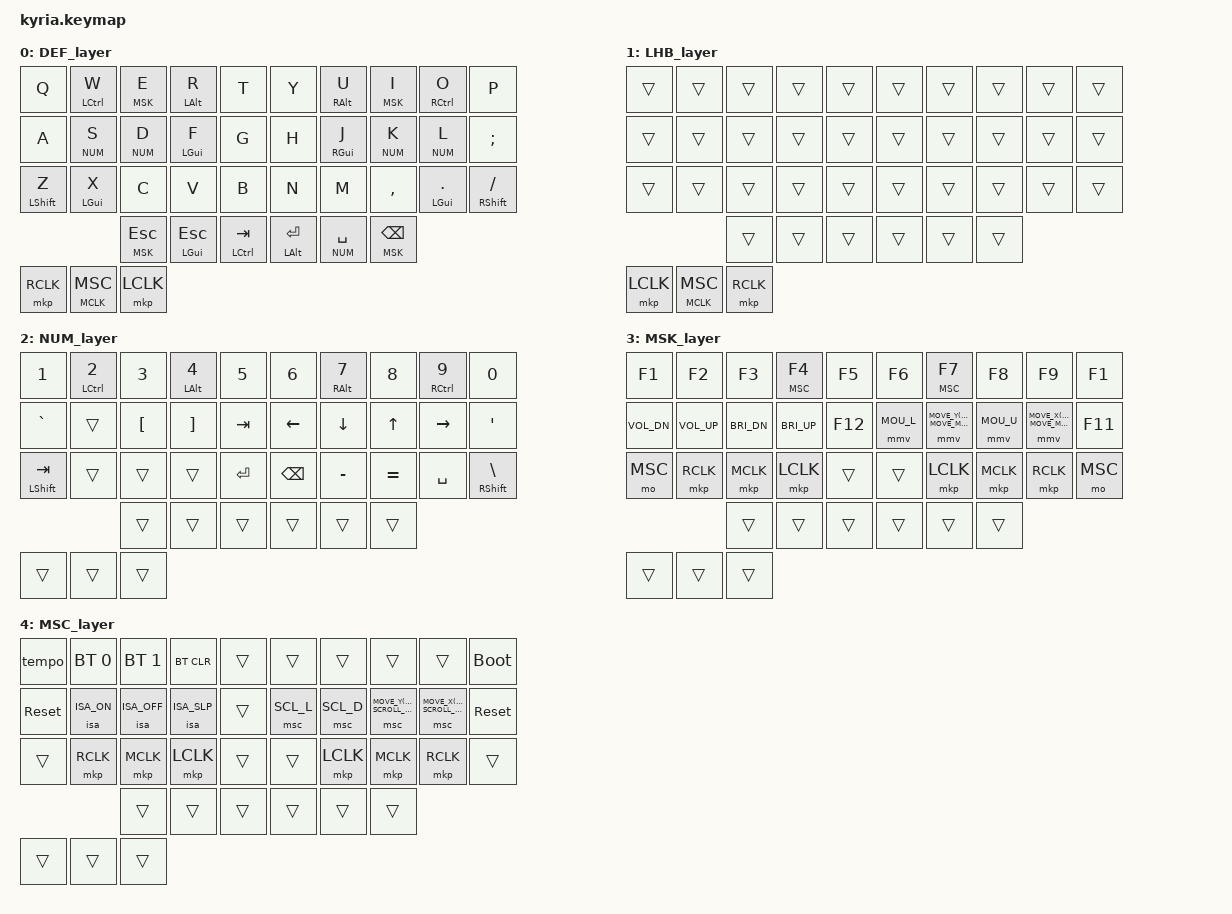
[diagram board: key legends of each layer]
/*
 * Copyright (c) 2020 The ZMK Contributors
 *
 * SPDX-License-Identifier: MIT
 */

#include <behaviors.dtsi>
#include <behaviors/mouse_keys.dtsi>
#include <behaviors/mouse_key_press.dtsi>
#include <behaviors/mouse_key_toggle.dtsi>
#include <dt-bindings/zmk/keys.h>
#include <dt-bindings/zmk/bt.h>
#include <dt-bindings/zmk/rgb.h>
#include <dt-bindings/zmk/ext_power.h>
#include <dt-bindings/zmk/outputs.h>
#include <dt-bindings/zmk/mouse.h>

#include <behaviors/insomnia.dtsi>
#include <dt-bindings/zmk/insomnia.h>

#define DEF 0
#define LHB 1
#define NUM 2
#define MSK 3
#define MSC 4

#ifndef MOVE_Y
#define MOVE_Y(n) (0)
#endif
#ifndef MOVE_X
#define MOVE_X(n) (0)
#endif

#define U_MOUSE_MOVE_MAX 1700
#define MOU_U MOVE_Y(-U_MOUSE_MOVE_MAX)
#define MOU_D MOVE_Y(U_MOUSE_MOVE_MAX)
#define MOU_L MOVE_X(-U_MOUSE_MOVE_MAX)
#define MOU_R MOVE_X(U_MOUSE_MOVE_MAX)

#define U_MOUSE_SCROLL_MAX 20
#define SCL_U MOVE_Y(U_MOUSE_SCROLL_MAX)
#define SCL_D MOVE_Y(-U_MOUSE_SCROLL_MAX)
#define SCL_L MOVE_X(-U_MOUSE_SCROLL_MAX)
#define SCL_R MOVE_X(U_MOUSE_SCROLL_MAX)

/ {
        // behaviors {
        //         mmv: mmv_dummy {
        //                 compatible = "zmk,behavior-momentary-layer";
        //                 #binding-cells = <1>;
        //         };
        //         msc: msc_dummy {
        //                 compatible = "zmk,behavior-momentary-layer";
        //                 #binding-cells = <1>;
        //         };
        // };

        // tb0_mmv_ibl {
        //         compatible = "zmk,input-behavior-listener";
        //         device = <&pd0>;
        //         layers = <DEF NUM MSK LHB>;
	//         evt-type = <INPUT_EV_REL>;
	//         x-input-code = <INPUT_REL_X>;
	//         y-input-code = <INPUT_REL_Y>;
        //         // bindings = <&ib_tog_layer MSK>;
        // };
        // tb0_msl_ibl {
        //         compatible = "zmk,input-behavior-listener";
        //         device = <&pd0>;
        //         layers = <MSC>;
        //         evt-type = <INPUT_EV_REL>;
        //         x-input-code = <INPUT_REL_MISC>;
        //         y-input-code = <INPUT_REL_WHEEL>;
        //         y-invert;
        //         bindings = <&ib_wheel_scaler 1 25>;
        // };

        // tb1_mmv_ibl {
        //         compatible = "zmk,input-behavior-listener";
        //         device = <&pd1>;
        //         layers = <DEF NUM MSK LHB>;
	//         evt-type = <INPUT_EV_REL>;
	//         x-input-code = <INPUT_REL_X>;
	//         y-input-code = <INPUT_REL_Y>;
        //         // bindings = <&ib_tog_layer MSK>;
        // };
        // tb1_msl_ibl {
        //         compatible = "zmk,input-behavior-listener";
        //         device = <&pd1>;
        //         layers = <MSC>;
        //         evt-type = <INPUT_EV_REL>;
        //         x-input-code = <INPUT_REL_MISC>;
        //         y-input-code = <INPUT_REL_WHEEL>;
        //         y-invert;
        //         bindings = <&ib_wheel_scaler 1 25>;
        // };


        tball1_mmv_ibl {
                compatible = "zmk,input-behavior-listener";
                device = <&tball1>;
                layers = <DEF NUM MSK LHB>;
		evt-type = <INPUT_EV_REL>;
		x-input-code = <INPUT_REL_X>;
		y-input-code = <INPUT_REL_Y>;
                // bindings = <&ib_tog_layer MSK>;
                // bindings = <&ib_fwd_to_hid_io>;
        };
        tball1_msl_ibl {
                compatible = "zmk,input-behavior-listener";
                device = <&tball1>;
                layers = <MSC>;
                evt-type = <INPUT_EV_REL>;
                x-input-code = <INPUT_REL_MISC>;
                y-input-code = <INPUT_REL_WHEEL>;
                y-invert;
                bindings = <&ib_wheel_scaler 1 25>;
        };


        
        // ib_tog_layer: ib_tog_layer {
        //         compatible = "zmk,input-behavior-tog-layer";
        //         #binding-cells = <1>;
        //         time-to-live-ms = <1000>;
        // };

        // ib_fwd_to_hid_io: ib_forward_fwd_to_hid_io {
        //         compatible = "zmk,input-behavior-fwd-to-hid-io";
        //         #binding-cells = <0>;
        // };

        //   0   1   2   3   4     5   6   7   8   9
        //  10  11  12  13  14    15  16  17  18  19
        //  20  21  22  23  24    25  26  27  28  29
        //          30  31  32    33  34  35
        //  36 37 38


        behaviors {
                hm_l: homerow_mods_left {
                        compatible = "zmk,behavior-hold-tap"; #binding-cells = <2>;
                        tapping-term-ms = <200>; quick-tap-ms = <200>;
                        flavor = "tap-preferred"; bindings = <&kp>, <&kp>;
                };
                hm_r: homerow_mods_right {
                        compatible = "zmk,behavior-hold-tap"; #binding-cells = <2>;
                        tapping-term-ms = <200>; quick-tap-ms = <200>;
                        flavor = "tap-preferred"; bindings = <&kp>, <&kp>;
                };
                hl_l: homerow_layers_left {
                        compatible = "zmk,behavior-hold-tap"; #binding-cells = <2>;
                        tapping-term-ms = <200>; quick-tap-ms = <200>;
                        flavor = "tap-preferred"; bindings = <&mo>, <&kp>;
                };
                hl_r: homerow_layers_right {
                        compatible = "zmk,behavior-hold-tap"; #binding-cells = <2>;
                        tapping-term-ms = <200>; quick-tap-ms = <200>;
                        flavor = "tap-preferred"; bindings = <&mo>, <&kp>;
                };
                hmkp_tg: hold_mouse_key_press_tap_toggle {
                        compatible = "zmk,behavior-hold-tap"; #binding-cells = <2>;
                        tapping-term-ms = <200>; quick-tap-ms = <200>;
                        flavor = "tap-preferred"; bindings = <&mkp>, <&tog>;
                };
                // rot_enc: sensor_rotate {
                //         compatible = "zmk,behavior-sensor-rotate";
                //         #sensor-binding-cells = <0>;
                //         bindings = <&msc SCL_D>, <&msc SCL_U>;
                //         tap-ms = <120>;
                // };
        };

        tempo: key_tempo {
                compatible = "zmk,behavior-key-tempo";
                #binding-cells = <0>;
                usage-pages = <HID_USAGE_KEY HID_USAGE_CONSUMER>;
        };

        keymap {
                compatible = "zmk,keymap";
                DEF_layer {
// +------------------------------------------------------+     +--------------------------------------------------------+
// |     Q    |  LCTRL:W |  _MSK:E  |  LALT:R  |     T    |     |     Y     |  RALT:U  |  _MSK:I   |  RCTRL:O |     P    |
// |     A    |  _NUM:S  |  _NUM:D  |  LGUI:F  |     G    |     |     H     |  RGUI:J  |  _NUM:K   |  _NUM:L  |     ;:   |
// |  SHFT Z  |  LGUI:X  |     C    |     V    |     B    |     |     N     |     M    |    ,<     |  LGUI:.> |  SHFT /? |
//                       | ^MSK:ESC |  GUI:ESC | CTRL:TAB |     |  ALT:ENT  | _NUM:SPC | ^MSK:BKSP |
                        bindings = <
   &kp Q          &hm_l LCTRL W   &hl_l MSK E    &hm_l LALT R    &kp T               &kp Y           &hm_r RALT U     &hl_r MSK I     &hm_r RCTRL O   &kp P
   &kp A          &hl_l NUM S     &hl_l NUM D    &hm_l LGUI F    &kp G               &kp H           &hm_r RGUI J     &hl_r NUM K     &hl_r NUM L     &kp SEMI
   &mt LSHFT Z    &hm_l LGUI X    &kp C          &kp V           &kp B               &kp N           &kp M            &kp COMMA       &hm_r LGUI DOT  &mt RSHFT FSLH
                                  &lt MSK ESC    &mt LGUI ESC    &mt LCTRL TAB       &mt LALT RET    &lt NUM SPACE    &lt MSK BKSP
   &mkp RCLK   &hmkp_tg MCLK MSC   &mkp LCLK
                        >;
                        // sensor-bindings = <&rot_enc>;
                };
                LHB_layer {
                        bindings = <
   &trans  &trans  &trans  &trans  &trans    &trans  &trans  &trans  &trans  &trans
   &trans  &trans  &trans  &trans  &trans    &trans  &trans  &trans  &trans  &trans
   &trans  &trans  &trans  &trans  &trans    &trans  &trans  &trans  &trans  &trans
                   &trans  &trans  &trans    &trans  &trans  &trans
   &mkp LCLK   &hmkp_tg MCLK MSC   &mkp RCLK
                        >;
                        // sensor-bindings = <&rot_enc>;
                };
                NUM_layer {
// +------------------------------------------------------+     +-------------------------------------------------------+
// |    1!    | LCTRL:2@  |    3#    | LALT:4$  |    5%   |     |    6^    |  RALT:7& |    8&    |  RCTRL 9( |    0)    |
// |    `~    |           |    {[    |    ]}    |   TAB   |     |    LFT   |   DWN    |    UP    |    RGT    |    '"    |
// | SHFT TAB |           |          |          |   RET   |     |   BKSP   |    -_    |    =+    |    SPC    |  SHFT \| |
//                        |          |          |         |     |          |    (H)   |          |
                        bindings = <
   &kp N1             &hm_l LCTRL N2   &kp N3     &hm_l LALT N4   &kp N5              &kp N6      &hm_r RALT N7   &kp N8      &hm_r RCTRL N9   &kp N0
   &kp GRAVE          &trans           &kp LBKT   &kp RBKT        &kp TAB             &kp LEFT    &kp DOWN        &kp UP      &kp RIGHT        &kp SQT
   &mt LSHFT TAB      &trans           &trans     &trans          &kp RET             &kp BKSP    &kp MINUS       &kp EQUAL   &kp SPACE        &mt RSHFT BSLH
                                       &trans     &trans          &trans              &trans      &trans          &trans
   &trans   &trans   &trans
                        >;
                };
                MSK_layer {
// +------------------------------------------------------+     +------------------------------------------------------+
// |    F1    |    F2    |  (H) F3  |  _MSC:F4 |    F5    |     |    F6    |  _MSC:F7 |  (H) F8  |    F9    |   F10    |
// |   VOLD   |   VOLU   |   BRID   |   BRIU   |   F12    |     |   MLFT   |   MDWN   |    MUP   |   MRGT   |   F11    |
// |   _MSC   |   RCLK   |   MCLK   |   LCLK   |          |     |          |   LCLK   |   MCLK   |   RCLK   |  _MSC    |
//                       |   (H)    |          |          |     |          |          |    (H)   |
                        bindings = <
   &kp F1        &kp F2        &kp F3        &lt MSC F4    &kp F5            &kp F6      &lt MSC F7  &kp F8      &kp F9      &kp F1
   &kp C_VOL_DN  &kp C_VOL_UP  &kp C_BRI_DN  &kp C_BRI_UP  &kp F12           &mmv MOU_L  &mmv MOU_D  &mmv MOU_U  &mmv MOU_R  &kp F11
   &mo MSC       &mkp RCLK     &mkp MCLK     &mkp LCLK     &trans            &trans      &mkp LCLK   &mkp MCLK   &mkp RCLK   &mo MSC
                               &trans        &trans        &trans            &trans      &trans      &trans
   &trans   &trans   &trans
                        >;
                };
                MSC_layer {
// +------------------------------------------------------+     +------------------------------------------------------+
// |   TEMPO  |   BT_0   | (H) BT_1 | (H) BT_C |          |     |          |    (H)   |    (H)   |          |    DFU   |
// |   RESET  |  ISA_ON  |  ISA_OFF |  ISA_SLP |          |     |   SLFT   |   SDWN   |    SUP   |   SRGT   |   RESET  |
// |    (H)   |   RCLK   |   MCLK   |   LCLK   |          |     |          |   LCLK   |   MCLK   |   RCLK   |    (H)   |
//                       |   (H)    |          |          |     |          |          |    (H)   |
                        bindings = <
   &tempo      &bt BT_SEL 0  &bt BT_SEL 1  &bt BT_CLR    &trans            &trans       &trans        &trans      &trans        &bootloader
   &sys_reset  &isa ISA_ON   &isa ISA_OFF  &isa ISA_SLP  &trans            &msc SCL_L   &msc SCL_D    &msc SCL_U  &msc SCL_R    &sys_reset
   &trans      &mkp RCLK     &mkp MCLK     &mkp LCLK     &trans            &trans       &mkp LCLK     &mkp MCLK   &mkp RCLK     &trans
                             &trans        &trans        &trans            &trans       &trans        &trans
   &trans   &trans   &trans
                        >;
                };
       };
};
